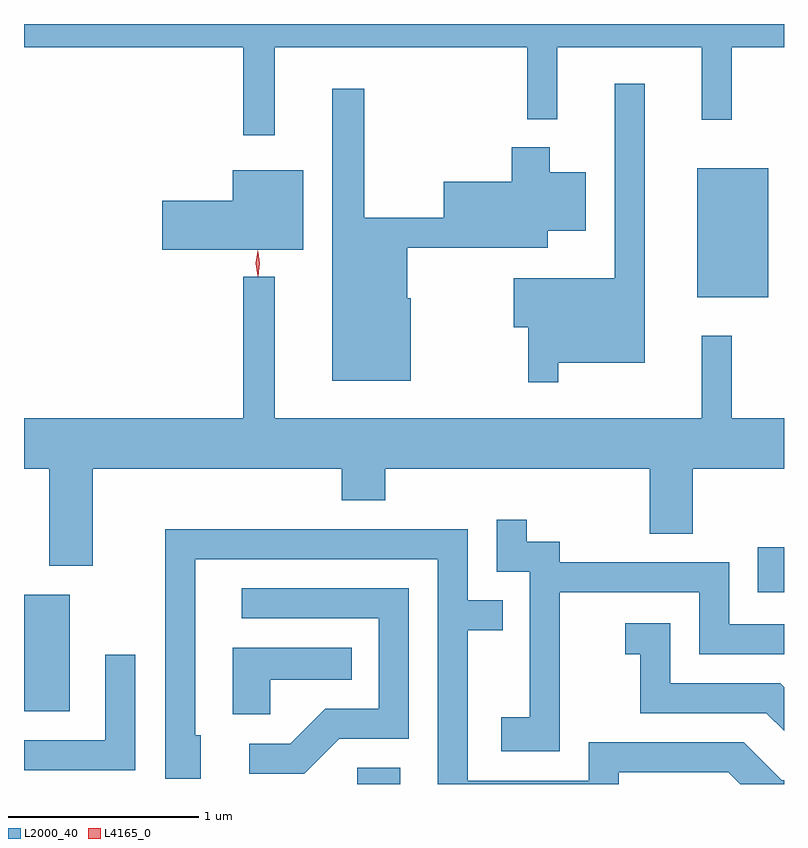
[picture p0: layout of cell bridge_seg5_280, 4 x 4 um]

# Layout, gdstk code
import gdstk
lib = gdstk.Library(unit=1e-6, precision=1e-09)
def R(c, l, rs):  # rectangles x0, y0, x1, y1
    for r in rs: c.add(gdstk.rectangle(r[:2], r[2:], *l))
def P(c, l, *ps):  # polygons
    for p in ps: c.add(gdstk.Polygon(p, *l))
L2000_40 = (2000, 40)
L4165_0 = (4165, 0)

bridge_seg5_280 = lib.new_cell('bridge_seg5_280')
R(bridge_seg5_280, L2000_40, [(657.361,1472.898,657.589,1472.984), (655.608,1473.281,655.849,1473.894), (659.471,1473.906,659.608,1474.143), (659.151,1475.461,659.524,1476.139)])
P(bridge_seg5_280, L2000_40, [(656.929,1476.776),(658.256,1476.776),(658.256,1476.398),(658.414,1476.398),(658.414,1476.776),(659.176,1476.776),(659.176,1476.393),(659.334,1476.393),(659.334,1476.776),(659.608,1476.776),(659.608,1476.898),(655.608,1476.898),(655.608,1476.776),(656.761,1476.776),(656.761,1476.313),(656.929,1476.313)],
  [(658.419,1475.116),(658.874,1475.116),(658.874,1476.583),(658.716,1476.583),(658.716,1475.559),(658.186,1475.559),(658.186,1475.301),(658.261,1475.301),(658.261,1475.013),(658.419,1475.013)],
  [(657.644,1475.454),(657.624,1475.454),(657.624,1475.721),(658.364,1475.721),(658.364,1475.811),(658.564,1475.811),(658.564,1476.119),(658.374,1476.119),(658.374,1476.249),(658.176,1476.249),(658.176,1476.069),(657.816,1476.069),(657.816,1475.879),(657.399,1475.879),(657.399,1476.558),(657.231,1476.558),(657.231,1475.021),(657.644,1475.021)],
  [(657.079,1476.129),(656.706,1476.129),(656.706,1475.969),(656.336,1475.969),(656.336,1475.711),(657.079,1475.711)],
  [(655.969,1474.556),(657.281,1474.556),(657.281,1474.391),(657.509,1474.391),(657.509,1474.556),(658.901,1474.556),(658.901,1474.216),(659.129,1474.216),(659.129,1474.556),(659.608,1474.556),(659.608,1474.824),(659.334,1474.824),(659.334,1475.258),(659.176,1475.258),(659.176,1474.824),(656.929,1474.824),(656.929,1475.568),(656.761,1475.568),(656.761,1474.824),(655.608,1474.824),(655.608,1474.556),(655.741,1474.556),(655.741,1474.046),(655.969,1474.046)],
  [(658.429,1473.906),(659.161,1473.906),(659.161,1473.581),(659.608,1473.581),(659.608,1473.739),(659.319,1473.739),(659.319,1474.064),(658.429,1474.064),(658.429,1474.174),(658.254,1474.174),(658.254,1474.288),(658.096,1474.288),(658.096,1474.016),(658.271,1474.016),(658.271,1473.249),(658.121,1473.249),(658.121,1473.071),(658.429,1473.071)],
  [(658.739,1472.961),(659.314,1472.961),(659.377,1472.898),(659.608,1472.898),(659.608,1472.919),(659.597,1472.919),(659.397,1473.119),(658.581,1473.119),(658.581,1472.914),(657.944,1472.914),(657.944,1473.706),(658.128,1473.706),(658.128,1473.864),(657.944,1473.864),(657.944,1474.239),(656.351,1474.239),(656.351,1472.926),(656.539,1472.926),(656.539,1473.154),(656.509,1473.154),(656.509,1474.081),(657.786,1474.081),(657.786,1472.898),(658.739,1472.898)],
  [(657.267,1473.136),(657.634,1473.136),(657.634,1473.929),(656.753,1473.929),(656.753,1473.771),(657.476,1473.771),(657.476,1473.294),(657.194,1473.294),(657.009,1473.109),(656.793,1473.109),(656.793,1472.951),(657.082,1472.951)],
  [(659.608,1473.408),(659.587,1473.429),(659.009,1473.429),(659.009,1473.744),(658.773,1473.744),(658.773,1473.581),(658.851,1473.581),(658.851,1473.271),(659.514,1473.271),(659.608,1473.177)],
  [(656.904,1473.446),(657.333,1473.446),(657.333,1473.614),(656.706,1473.614),(656.706,1473.266),(656.904,1473.266)],
  [(656.194,1473.578),(656.036,1473.578),(656.036,1473.129),(655.608,1473.129),(655.608,1472.971),(656.194,1472.971)])
P(bridge_seg5_280, L4165_0, [(656.839,1475.573),(656.829,1475.636),(656.838,1475.699),(656.839,1475.7),(656.84,1475.699),(656.849,1475.636),(656.84,1475.573),(656.84,1475.573)],
  [(656.839,1475.57),(656.829,1475.638),(656.838,1475.705),(656.838,1475.706),(656.839,1475.705),(656.849,1475.638),(656.84,1475.57),(656.84,1475.57)])

lib.write_gds('bridge_seg5_280.gds')
